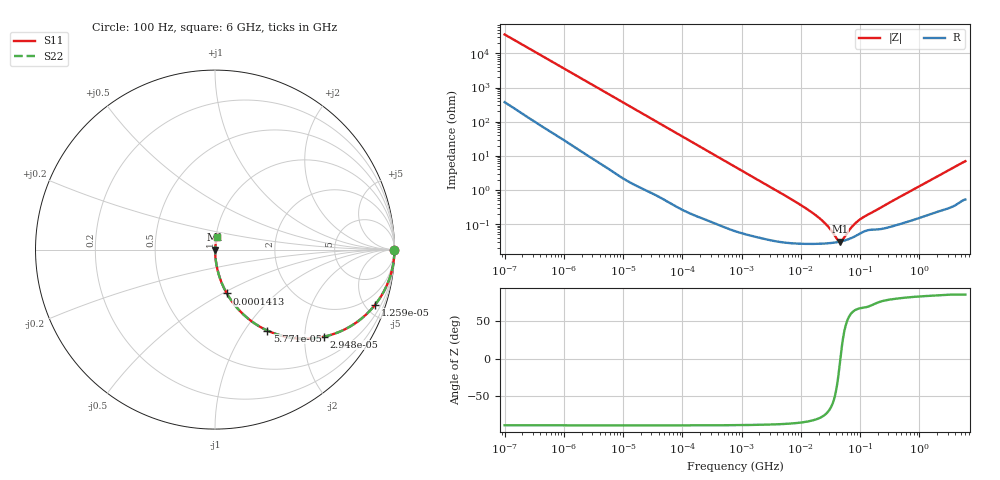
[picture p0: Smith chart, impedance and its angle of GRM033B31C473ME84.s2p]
!Murata Part Number: GRM033B31C473ME84
!These Parameters are Measured in Series Mode Connection
!Data Generated on Mar 30, 2021
!  o--ll--o
!Port1  Port2
!  o------o
!Operation Temp=25[degC], DC Bias Voltage=0[V]
!Freq. Start=100[Hz] Stop=6[GHz] 401[Steps]
# Hz S RI R 50
!Freq.(Hz) S11(Real) S11(Imag) S21(Real) S21(Imag) S12(Real) S12(Imag) S22(Real) S22(Imag)
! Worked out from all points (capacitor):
!   401 points, 100 Hz to 6 GHz, reference 50 ohm
!   read as one part in series: C = 44.4 nF near 109 Hz
!   lowest |Z| = 30.8 mohm at 45.56 MHz (marker M1)
!   series resonance near 46.59 MHz, so ESL is about 260 pH
!   S11 on the Smith chart (normalised r, x): 100 Hz: open; 12.59 kHz: 1.03, -5.82; 29.48 kHz: 1.02, -2.49; 57.71 kHz: 1.01, -1.28; 141.3 kHz: 1.00, -0.52; 6 GHz: 1.01, +0.14
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100  1 -0.0028  3.69e-05 0.0028  3.69e-05 0.0028  1 -0.0028
2008  0.9966 -0.055  0.00344 0.055  0.00344 0.055  0.9966 -0.055
5378  0.9779 -0.1439  0.0221 0.1439  0.0221 0.1439  0.9779 -0.1439
12592  0.8929 -0.3063  0.1071 0.3063  0.1071 0.3063  0.8929 -0.3063
18841  0.7897 -0.4044  0.2103 0.4044  0.2103 0.4044  0.7897 -0.4044
29482  0.6076 -0.485  0.3924 0.485  0.3924 0.485  0.6076 -0.485
40335  0.4545 -0.4945  0.5455 0.4945  0.5455 0.4945  0.4545 -0.4945
57709  0.291 -0.4508  0.709 0.4508  0.709 0.4508  0.291 -0.4508
90302  0.1449 -0.3486  0.8551 0.3486  0.8551 0.3486  0.1449 -0.3486
141303  0.0657 -0.244  0.9343 0.244  0.9343 0.244  0.0657 -0.244
302498  0.0159 -0.1205  0.9841 0.1205  0.9841 0.1205  0.0159 -0.1205
774597  0.00293 -0.0479  0.9971 0.0479  0.9971 0.0479  0.00293 -0.0479
6353432  0.000312 -0.00582  0.9997 0.00582  0.9997 0.00582  0.000312 -0.00582
1.555665e7  0.000267 -0.00215  0.9997 0.00215  0.9997 0.00215  0.000267 -0.00215
2.545746e7  0.000271 -0.00104  0.9997 0.00104  0.9997 0.00104  0.000271 -0.00104
4.165952e7  0.000297 -0.00018  0.9997 0.00018  0.9997 0.00018  0.000297 -0.00018
4.556224e7  0.000305 -3.53e-05  0.9997 3.53e-05  0.9997 3.53e-05  0.000305 -3.53e-05
4.983056e7  0.000316 0.000108  0.9997 -0.000108  0.9997 -0.000108  0.000316 0.000108
7.129496e7  0.00039 0.000693  0.9996 -0.000693  0.9996 -0.000693  0.00039 0.000693
9.753859e7  0.000517 0.00122  0.9995 -0.00122  0.9995 -0.00122  0.000517 0.00122
3.124326e8  0.00083 0.00416  0.9992 -0.00416  0.9992 -0.00416  0.00083 0.00416
6e9  0.00993 0.0684  0.9901 -0.0684  0.9901 -0.0684  0.00993 0.0684
